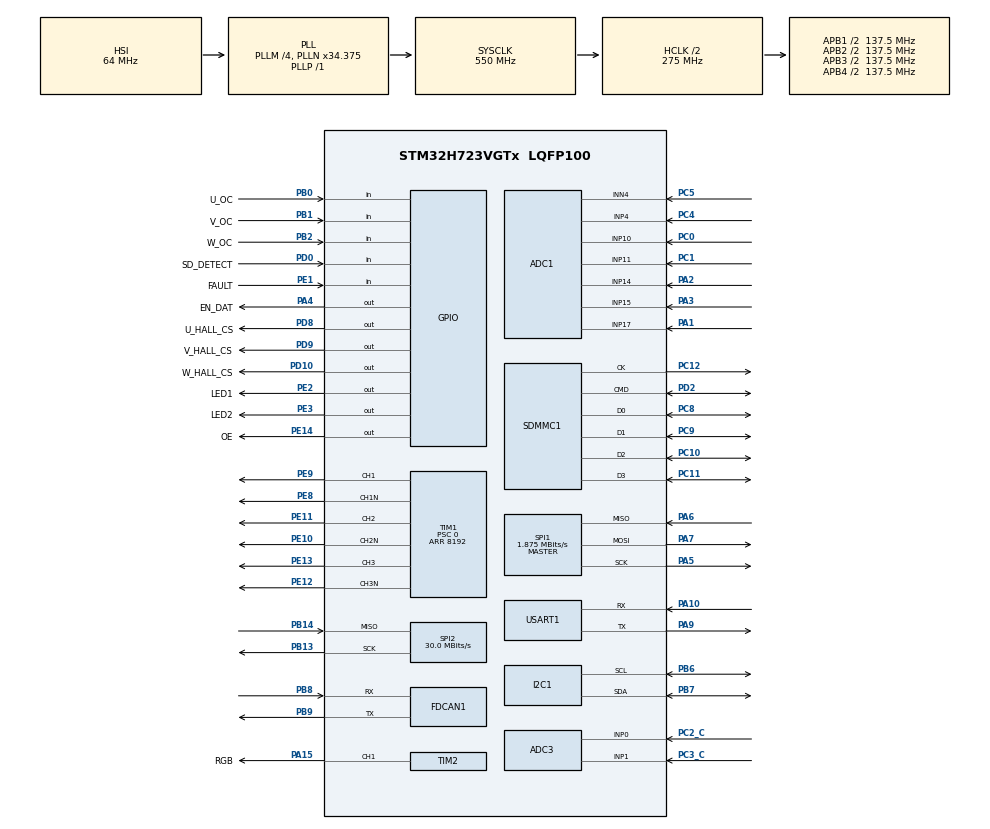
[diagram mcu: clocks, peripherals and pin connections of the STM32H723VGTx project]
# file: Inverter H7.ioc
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ADC1.Channel-1\#ChannelRegularConversion=ADC_CHANNEL_4
ADC1.Channel-5\#ChannelRegularConversion=ADC_CHANNEL_10
ADC1.ClockPrescaler=ADC_CLOCK_ASYNC_DIV8
ADC1.ContinuousConvMode=ENABLE
ADC1.ConversionDataManagement=ADC_CONVERSIONDATA_DMA_CIRCULAR
ADC1.EOCSelection=ADC_EOC_SEQ_CONV
ADC1.NbrOfConversion=2
ADC1.NbrOfConversionFlag=1
ADC1.OffsetNumber-5\#ChannelRegularConversion=ADC_OFFSET_NONE
ADC1.OffsetSignedSaturation-5\#ChannelRegularConversion=DISABLE
ADC1.Rank-5\#ChannelRegularConversion=2
ADC1.SamplingTime-1\#ChannelRegularConversion=ADC_SAMPLETIME_32CYCLES_5
ADC1.SamplingTime-5\#ChannelRegularConversion=ADC_SAMPLETIME_32CYCLES_5
ADC1.SingleDiff-1\#ChannelRegularConversion=ADC_DIFFERENTIAL_ENDED
ADC1.master=1
ADC3.Channel-0\#ChannelRegularConversion=ADC_CHANNEL_0
ADC3.ClockPrescaler=ADC_CLOCK_ASYNC_DIV8
ADC3.NbrOfConversionFlag=1
ADC3.OffsetNumber-0\#ChannelRegularConversion=ADC_OFFSET_NONE
ADC3.OffsetSign-0\#ChannelRegularConversion=ADC3_OFFSET_SIGN_NEGATIVE
ADC3.Rank-0\#ChannelRegularConversion=1
ADC3.SamplingTime-0\#ChannelRegularConversion=ADC3_SAMPLETIME_2CYCLES_5
CORTEX_M7.default_mode_Activation=1
Dma.ADC1.1.Direction=DMA_PERIPH_TO_MEMORY
Dma.ADC1.1.EventEnable=DISABLE
Dma.ADC1.1.FIFOMode=DMA_FIFOMODE_DISABLE
Dma.ADC1.1.Instance=DMA1_Stream1
Dma.ADC1.1.MemDataAlignment=DMA_MDATAALIGN_WORD
Dma.ADC1.1.MemInc=DMA_MINC_ENABLE
Dma.ADC1.1.Mode=DMA_CIRCULAR
Dma.ADC1.1.PeriphDataAlignment=DMA_PDATAALIGN_WORD
Dma.ADC1.1.PeriphInc=DMA_PINC_DISABLE
Dma.ADC1.1.Polarity=HAL_DMAMUX_REQ_GEN_RISING
Dma.ADC1.1.Priority=DMA_PRIORITY_MEDIUM
Dma.ADC1.1.RequestNumber=1
Dma.ADC1.1.SignalID=NONE
Dma.ADC1.1.SyncEnable=DISABLE
Dma.ADC1.1.SyncPolarity=HAL_DMAMUX_SYNC_NO_EVENT
Dma.ADC1.1.SyncRequestNumber=1
Dma.ADC1.1.SyncSignalID=NONE
Dma.Request0=USART1_TX
Dma.Request1=ADC1
Dma.USART1_TX.0.Direction=DMA_MEMORY_TO_PERIPH
Dma.USART1_TX.0.EventEnable=DISABLE
Dma.USART1_TX.0.FIFOMode=DMA_FIFOMODE_DISABLE
Dma.USART1_TX.0.Instance=DMA1_Stream0
Dma.USART1_TX.0.MemDataAlignment=DMA_MDATAALIGN_BYTE
Dma.USART1_TX.0.MemInc=DMA_MINC_ENABLE
Dma.USART1_TX.0.Mode=DMA_NORMAL
Dma.USART1_TX.0.PeriphDataAlignment=DMA_PDATAALIGN_BYTE
Dma.USART1_TX.0.PeriphInc=DMA_PINC_DISABLE
Dma.USART1_TX.0.Polarity=HAL_DMAMUX_REQ_GEN_RISING
Dma.USART1_TX.0.Priority=DMA_PRIORITY_MEDIUM
Dma.USART1_TX.0.RequestNumber=1
Dma.USART1_TX.0.SignalID=NONE
Dma.USART1_TX.0.SyncEnable=DISABLE
Dma.USART1_TX.0.SyncPolarity=HAL_DMAMUX_SYNC_NO_EVENT
Dma.USART1_TX.0.SyncRequestNumber=1
Dma.USART1_TX.0.SyncSignalID=NONE
FATFS.BSP.number=1
FATFS._MAX_SS=4096
FATFS._USE_LFN=1
FATFS0.BSP.STBoard=false
FATFS0.BSP.api=Unknown
FATFS0.BSP.instance=PD0
FATFS0.BSP.ip=GPIO
FATFS0.BSP.mode=Input
FATFS0.BSP.name=Detect_SDIO
FATFS0.BSP.solution=PD0
FDCAN1.CalculateBaudRateNominal=520833
FDCAN1.CalculateTimeBitNominal=1920
FDCAN1.CalculateTimeQuantumNominal=640.0
I2C1.Timing=0x60404E72
Mcu.Family=STM32H7
Mcu.Name=STM32H723VGTx
Mcu.Package=LQFP100
NVIC.DMA1_Stream0_IRQn=true\:0\:0\:false\:false\:true\:false\:true\:true
NVIC.DMA1_Stream1_IRQn=true\:0\:0\:false\:false\:true\:false\:true\:true
NVIC.PriorityGroup=NVIC_PRIORITYGROUP_4
NVIC.SDMMC1_IRQn=true\:0\:0\:false\:false\:true\:true\:true\:true
NVIC.USART1_IRQn=true\:0\:0\:false\:false\:true\:true\:true\:true
PA1.GPIO_Mode=GPIO_MODE_ANALOG
PA1.GPIO_Pd=GPIO_NOPULL
PA1.Mode=IN17-Single-Ended
PA1.Signal=ADC1_INP17
PA10.Mode=Asynchronous
PA10.Signal=USART1_RX
PA13(JTMS/SWDIO).Mode=Trace_Asynchronous_SW
PA13(JTMS/SWDIO).Signal=DEBUG_JTMS-SWDIO
PA14(JTCK/SWCLK).Mode=Trace_Asynchronous_SW
PA14(JTCK/SWCLK).Signal=DEBUG_JTCK-SWCLK
PA15(JTDI).GPIO_Label=RGB
PA15(JTDI).Signal=S_TIM2_CH1_ETR
PA2.GPIO_Mode=GPIO_MODE_ANALOG
PA2.GPIO_Pd=GPIO_NOPULL
PA2.Signal=ADCx_INP14
PA3.GPIO_Mode=GPIO_MODE_ANALOG
PA3.GPIO_Pd=GPIO_NOPULL
PA3.Signal=ADCx_INP15
PA4.GPIO_Label=EN_DAT
PA4.Signal=GPIO_Output
PA5.GPIO_PuPd=GPIO_NOPULL
PA5.GPIO_Speed=GPIO_SPEED_FREQ_LOW
PA5.Mode=Full_Duplex_Master
PA5.Signal=SPI1_SCK
PA6.GPIO_Speed=GPIO_SPEED_FREQ_LOW
PA6.Mode=Full_Duplex_Master
PA6.Signal=SPI1_MISO
PA7.GPIO_Speed=GPIO_SPEED_FREQ_LOW
PA7.Mode=Full_Duplex_Master
PA7.Signal=SPI1_MOSI
PA9.Mode=Asynchronous
PA9.Signal=USART1_TX
PB0.GPIO_Label=U_OC
PB0.Signal=GPIO_Input
PB1.GPIO_Label=V_OC
PB1.Signal=GPIO_Input
PB13.GPIO_Speed=GPIO_SPEED_FREQ_VERY_HIGH
PB13.Mode=RX_Only_Simplex_Unidirect_Master
PB13.Signal=SPI2_SCK
PB14.GPIO_Speed=GPIO_SPEED_FREQ_VERY_HIGH
PB14.Mode=RX_Only_Simplex_Unidirect_Master
PB14.Signal=SPI2_MISO
PB2.GPIO_Label=W_OC
PB2.Signal=GPIO_Input
PB3(JTDO/TRACESWO).Mode=Trace_Asynchronous_SW
PB3(JTDO/TRACESWO).Signal=DEBUG_JTDO-SWO
PB6.Mode=I2C
PB6.Signal=I2C1_SCL
PB7.Mode=I2C
PB7.Signal=I2C1_SDA
PB8.Mode=FDCAN_Activate
PB8.Signal=FDCAN1_RX
PB9.Mode=FDCAN_Activate
PB9.Signal=FDCAN1_TX
PC0.Signal=ADCx_INP10
PC1.Signal=ADCx_INP11
PC10.Mode=SD_4_bits_Wide_bus
PC10.Signal=SDMMC1_D2
PC11.Mode=SD_4_bits_Wide_bus
PC11.Signal=SDMMC1_D3
PC12.Mode=SD_4_bits_Wide_bus
PC12.Signal=SDMMC1_CK
PC2_C.Mode=IN0-Single-Ended
PC2_C.Signal=ADC3_INP0
PC3_C.Mode=IN1-Single-Ended
PC3_C.Signal=ADC3_INP1
PC4.Signal=ADCx_INP4
PC5.Signal=ADCx_INN4
PC8.Mode=SD_4_bits_Wide_bus
PC8.Signal=SDMMC1_D0
PC9.Mode=SD_4_bits_Wide_bus
PC9.Signal=SDMMC1_D1
PD0.GPIO_Label=SD_DETECT
PD0.Signal=GPIO_Input
PD10.GPIO_Label=W_HALL_CS
PD10.PinState=GPIO_PIN_SET
PD10.Signal=GPIO_Output
PD2.Mode=SD_4_bits_Wide_bus
PD2.Signal=SDMMC1_CMD
PD8.GPIO_Label=U_HALL_CS
PD8.PinState=GPIO_PIN_SET
PD8.Signal=GPIO_Output
PD9.GPIO_Label=V_HALL_CS
PD9.PinState=GPIO_PIN_SET
PD9.Signal=GPIO_Output
PE1.GPIO_Label=FAULT
PE1.Signal=GPIO_Input
PE10.GPIO_Speed=GPIO_SPEED_FREQ_MEDIUM
PE10.Mode=PWM Generation2 CH2 CH2N
PE10.Signal=TIM1_CH2N
PE11.GPIO_Speed=GPIO_SPEED_FREQ_MEDIUM
PE11.Signal=S_TIM1_CH2
PE12.GPIO_Speed=GPIO_SPEED_FREQ_MEDIUM
PE12.Mode=PWM Generation3 CH3 CH3N
PE12.Signal=TIM1_CH3N
PE13.GPIO_Speed=GPIO_SPEED_FREQ_MEDIUM
PE13.Signal=S_TIM1_CH3
PE14.GPIO_Label=OE
PE14.Signal=GPIO_Output
PE2.GPIO_Label=LED1
PE2.Signal=GPIO_Output
PE3.GPIO_Label=LED2
PE3.Signal=GPIO_Output
PE8.GPIO_Speed=GPIO_SPEED_FREQ_MEDIUM
PE8.Mode=PWM Generation1 CH1 CH1N
PE8.Signal=TIM1_CH1N
PE9.GPIO_Speed=GPIO_SPEED_FREQ_MEDIUM
PE9.Signal=S_TIM1_CH1
PH0-OSC_IN.Mode=HSE-External-Oscillator
PH0-OSC_IN.Signal=RCC_OSC_IN
PH1-OSC_OUT.Mode=HSE-External-Oscillator
PH1-OSC_OUT.Signal=RCC_OSC_OUT
ProjectManager.HeapSize=0x400
ProjectManager.StackSize=0x800
ProjectManager.TargetToolchain=STM32CubeIDE
RCC.ADCCLockSelection=RCC_ADCCLKSOURCE_PLL3
RCC.ADCFreq_Value=129000000
RCC.APB1Freq_Value=137500000
RCC.APB2Freq_Value=137500000
RCC.APB3Freq_Value=137500000
RCC.APB4Freq_Value=137500000
RCC.CodegenConfigPeriph=true
RCC.CortexFreq_Value=550000000
RCC.D1PPRE=RCC_APB3_DIV2
RCC.D2PPRE1=RCC_APB1_DIV2
RCC.D2PPRE2=RCC_APB2_DIV2
RCC.D3PPRE=RCC_APB4_DIV2
RCC.DATA_CACHE_ENABLE=1
RCC.DIVM1=4
RCC.DIVM2=4
RCC.DIVN1=34
RCC.DIVN2=15
RCC.DIVP1=1
RCC.DIVP2=1
RCC.DIVQ1=4
RCC.DIVQ2=1
RCC.DIVR1=1
RCC.DIVR2=1
RCC.FDCANCLockSelection=RCC_FDCANCLKSOURCE_HSE
RCC.HCLKFreq_Value=275000000
RCC.HPRE=RCC_HCLK_DIV2
RCC.INSTRUCTION_CACHE_ENABLE=1
RCC.LSE_Drive_CapabilityArg=+LSE_Drive_Capability
RCC.PLL2FRACN=0
RCC.PLL3FRACN=0
RCC.PLL3_VCI_Range-AdvancedSettings=RCC_PLL3VCIRANGE_3
RCC.PLL3_VCO_SEL=RCC_PLL3VCOMEDIUM
RCC.PLL3_VCO_SEL-AdvancedSettings=RCC_PLL3VCOWIDE
RCC.PLLFRACN=3072
RCC.PREFETCH_ENABLE=0
RCC.SPI123CLockSelection=RCC_SPI123CLKSOURCE_PLL2
RCC.SYSCLKFreq_VALUE=550000000
RCC.SYSCLKSource=RCC_SYSCLKSOURCE_PLLCLK
RCC.USBFreq_Value=137500000
SDMMC1.ClockDiv=32
SH.ADCx_INN4.0=ADC1_INN4,IN4-Differential
SH.ADCx_INP10.0=ADC1_INP10,IN10-Single-Ended
SH.ADCx_INP11.0=ADC1_INP11,IN11-Single-Ended
SH.ADCx_INP14.0=ADC1_INP14,IN14-Single-Ended
SH.ADCx_INP15.0=ADC1_INP15,IN15-Single-Ended
SH.ADCx_INP4.0=ADC1_INP4,IN4-Differential
SH.S_TIM1_CH1.0=TIM1_CH1,PWM Generation1 CH1 CH1N
SH.S_TIM1_CH2.0=TIM1_CH2,PWM Generation2 CH2 CH2N
SH.S_TIM1_CH3.0=TIM1_CH3,PWM Generation3 CH3 CH3N
SH.S_TIM2_CH1_ETR.0=TIM2_CH1,PWM Generation1 CH1
SPI1.BaudRatePrescaler=SPI_BAUDRATEPRESCALER_128
SPI1.CLKPhase=SPI_PHASE_1EDGE
SPI1.CLKPolarity=SPI_POLARITY_HIGH
SPI1.CalculateBaudRate=1.875 MBits/s
SPI1.DataSize=SPI_DATASIZE_10BIT
SPI1.Direction=SPI_DIRECTION_2LINES
SPI1.Mode=SPI_MODE_MASTER
SPI1.NSSPMode=SPI_NSS_PULSE_DISABLE
SPI1.VirtualType=VM_MASTER
SPI2.BaudRatePrescaler=SPI_BAUDRATEPRESCALER_8
SPI2.CalculateBaudRate=30.0 MBits/s
SPI2.DataSize=SPI_DATASIZE_16BIT
SPI2.Direction=SPI_DIRECTION_2LINES_RXONLY
SPI2.Mode=SPI_MODE_MASTER
SPI2.VirtualType=VM_MASTER
TIM1.Channel-PWM\ Generation1\ CH1\ CH1N=TIM_CHANNEL_1
TIM1.Channel-PWM\ Generation2\ CH2\ CH2N=TIM_CHANNEL_2
TIM1.Channel-PWM\ Generation3\ CH3\ CH3N=TIM_CHANNEL_3
TIM1.CounterMode=TIM_COUNTERMODE_CENTERALIGNED1
TIM1.OCFastMode_PWM-PWM\ Generation1\ CH1\ CH1N=TIM_OCFAST_ENABLE
TIM1.OCFastMode_PWM-PWM\ Generation2\ CH2\ CH2N=TIM_OCFAST_ENABLE
TIM1.OCFastMode_PWM-PWM\ Generation3\ CH3\ CH3N=TIM_OCFAST_ENABLE
TIM1.OCMode_PWM-PWM\ Generation1\ CH1\ CH1N=TIM_OCMODE_PWM1
TIM1.OCMode_PWM-PWM\ Generation2\ CH2\ CH2N=TIM_OCMODE_PWM1
TIM1.OCMode_PWM-PWM\ Generation3\ CH3\ CH3N=TIM_OCMODE_PWM1
TIM1.OCNPolarity_1=TIM_OCNPOLARITY_HIGH
TIM1.OCNPolarity_2=TIM_OCNPOLARITY_HIGH
TIM1.OCNPolarity_3=TIM_OCNPOLARITY_HIGH
TIM1.OCPolarity_1=TIM_OCPOLARITY_HIGH
TIM1.OCPolarity_2=TIM_OCPOLARITY_HIGH
TIM1.OCPolarity_3=TIM_OCPOLARITY_HIGH
TIM1.Period=8192
TIM1.Prescaler=0
TIM16.Prescaler=275-1
TIM2.Channel-PWM\ Generation1\ CH1=TIM_CHANNEL_1
USART1.VirtualMode-Asynchronous=VM_ASYNC
VP_CORDIC_VS_CORDIC.Mode=CORDIC_Activate
VP_FATFS_VS_SDIO.Mode=SDIO
VP_MEMORYMAP_VS_MEMORYMAP.Mode=CurAppReg
VP_TIM16_VS_ClockSourceINT.Mode=Enable_Timer
board=custom

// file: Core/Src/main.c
/* USER CODE BEGIN Header */
/**
  ******************************************************************************
  * @file           : main.c
  * @brief          : Main program body
  ******************************************************************************
  * @attention
  *
  * Copyright (c) 2025 STMicroelectronics.
  * All rights reserved.
  *
  * This software is licensed under terms that can be found in the LICENSE file
  * in the root directory of this software component.
  * If no LICENSE file comes with this software, it is provided AS-IS.
  *
  ******************************************************************************
  */
/* USER CODE END Header */
#include "main.h"
#include "fatfs.h"

/* USER CODE BEGIN Includes */
#include <string.h>
#include <stdio.h>

#include "adc.h"
#include "hall.h"
#include "encoder.h"
#include "main.h"
#include "appMath.h"
#include "sdcard.h"
/* USER CODE END Includes */

/* USER CODE BEGIN PD */
#define UPHASE TIM1->CCR1
#define VPHASE TIM1->CCR2
#define WPHASE TIM1->CCR3
#define ENABLE_OUT HAL_GPIO_WritePin(GPIOE, GPIO_PIN_14, 1)
#define DISABLE_OUT HAL_GPIO_WritePin(GPIOE, GPIO_PIN_14, 0)

#define PWM_MAX 8000

/* USER CODE END PD */

/* USER CODE BEGIN PM */
#define V2PWM 8192.0/v_bus
/* USER CODE END PM */

ADC_HandleTypeDef hadc1;
ADC_HandleTypeDef hadc3;
DMA_HandleTypeDef hdma_adc1;

CORDIC_HandleTypeDef hcordic;

FDCAN_HandleTypeDef hfdcan1;

I2C_HandleTypeDef hi2c1;

SD_HandleTypeDef hsd1;

SPI_HandleTypeDef hspi1;
SPI_HandleTypeDef hspi2;

TIM_HandleTypeDef htim1;
TIM_HandleTypeDef htim2;
TIM_HandleTypeDef htim16;

UART_HandleTypeDef huart1;
DMA_HandleTypeDef hdma_usart1_tx;

/* USER CODE BEGIN PV */
char msg[100] = {};

uint16_t iu = 0;
uint16_t iv = 0;
uint16_t iw = 0;

uint32_t motor = 0;

uint16_t hallOffset[3] = {0};
uint16_t hallValue[3] = {0};

uint32_t adcOffset[10] = {0};
uint32_t adcValue[10] = {0};

volatile float i_phase[3] = {0};
volatile uint32_t tI = 0;
volatile float freq = 0;
volatile float theta = 0;
volatile float thetaI = 0;
volatile float omega = 0;

volatile float v_bus = 0;

float theta_e = 0;
float omega_e = 0;

DQ_Components integral = {0,0};
DQ_Components error = {0,0};

volatile DQ_Components ref = {.d = 0 , .q = 0};

/* USER CODE END PV */

void SystemClock_Config(void);
void PeriphCommonClock_Config(void);
static void MPU_Config(void);
static void MX_GPIO_Init(void);
static void MX_DMA_Init(void);
static void MX_ADC1_Init(void);
static void MX_ADC3_Init(void);
static void MX_CORDIC_Init(void);
static void MX_FDCAN1_Init(void);
static void MX_I2C1_Init(void);
static void MX_SPI1_Init(void);
static void MX_SPI2_Init(void);
static void MX_TIM1_Init(void);
static void MX_TIM16_Init(void);
static void MX_USART1_UART_Init(void);
static void MX_TIM2_Init(void);
static void MX_SDMMC1_SD_Init(void);

int main(void)
{

  /* MPU Configuration--------------------------------------------------------*/
  MPU_Config();

  /* MCU Configuration--------------------------------------------------------*/

  /* Reset of all peripherals, Initializes the Flash interface and the Systick. */
  HAL_Init();

  /* Configure the system clock */
  SystemClock_Config();

  /* Configure the peripherals common clocks */
  PeriphCommonClock_Config();

  /* Initialize all configured peripherals */
  MX_GPIO_Init();
  MX_DMA_Init();
  MX_ADC1_Init();
  MX_ADC3_Init();
  MX_CORDIC_Init();
  MX_FDCAN1_Init();
  MX_I2C1_Init();
  MX_SPI1_Init();
  MX_SPI2_Init();
  MX_TIM1_Init();
  MX_TIM16_Init();
  MX_USART1_UART_Init();
  MX_TIM2_Init();
  MX_SDMMC1_SD_Init();
  MX_FATFS_Init();
  /* USER CODE BEGIN 2 */

  HAL_TIM_Base_Start(&htim16);

  ENABLE_OUT;
  HAL_TIM_PWM_Start(&htim1, TIM_CHANNEL_1);
  HAL_TIMEx_PWMN_Start(&htim1, TIM_CHANNEL_1);
  UPHASE = 0;
  HAL_TIM_PWM_Start(&htim1, TIM_CHANNEL_2);
  HAL_TIMEx_PWMN_Start(&htim1, TIM_CHANNEL_2);
  VPHASE = 0;
  HAL_TIM_PWM_Start(&htim1, TIM_CHANNEL_3);
  HAL_TIMEx_PWMN_Start(&htim1, TIM_CHANNEL_3);
  WPHASE = 0;

  HAL_ADC_Start_DMA(&hadc1, adcValue, 2);

  callibrateHall(&hspi2,hallOffset);
  callibrateADC(&hadc1,adcOffset);

  /* USER CODE END 2 */

  /* Infinite loop */
  /* USER CODE BEGIN WHILE */

  uint32_t printCounter =0;
  float	fake_angle = 0;
  float angle_offset = 0;
//  float angle_offset = 2.7 + M_PI2;
//  float angle_offset = 1.032;
//  float angle_offset = 0.06790161132;
//  	float angle_offset = 4.4;
//  float angle_offset = -2.25;

//  float angle_offset = 2.05 - M_2PI/3;
//		UPHASE = 300;
//		HAL_Delay(1000);
//  	  readEncoder(&motor);
//	theta = motor*ENDAT2RAD;
//	theta_e = normalizeAngle(theta*5);
//	sprintf(msg, "%f",theta_e);
//	HAL_UART_Transmit_DMA(&huart1, (uint8_t*)msg, strlen(msg));

//  float angle_offset = M_PI2;
////  SDIO_SDCard_Test();
  while (1)
  {

	uint32_t dt = __HAL_TIM_GET_COUNTER(&htim16) - tI;
	tI = __HAL_TIM_GET_COUNTER(&htim16);
	freq = (1000000.0/(float)dt);
	readEncoder(&motor);
	theta = normalizeAngle((motor)*ENDAT2RAD);
//	if(theta == 0 || theta == 65536){
//		theta = thetaI;
//	}
	omega = shortenAngle(theta - thetaI)*(freq);
	thetaI = theta;

	//electrical equivalent
	theta_e = normalizeAngle((theta) * 5);
	fake_angle = normalizeAngle(fake_angle + 0.0003);
//	theta_e = fake_angle;
	omega_e = omega * 5;

//	angle_offset = normalizeAngle(angle_offset + 0.00003);

	float real_angle = normalizeAngle(theta * 5);

//	angle_offset= (float)(((float)adcValue[1]-500)/10000);

	theta_e = normalizeAngle(theta_e);

	pollCurrent(&hspi2, i_phase, hallValue, hallOffset);
	pollVoltage(&hadc1, &v_bus, adcValue, adcOffset);

	AlphaBeta_Components i_alpha_beta = clarkeTransform(i_phase[2], i_phase[0], i_phase[1]);
	DQ_Components i_dq = parkTransform(i_alpha_beta.alpha, i_alpha_beta.beta, theta_e);

//		i_dq.d = 0;
//		i_d/q.q = 0;

	//volatile DQ_Components dec = {.d = 0.05 , .q = 0.05};
//	volatile DQ_Components Kp = {.d = 0.46, .q = 0.53}; // V/A
	float Lq = 0.000240f; //uH
	float Ld = 0.000120f; //uH
	float R = 0.135f; //R
	float w = 266.0f;
	volatile DQ_Components Kp = {.d = 3, .q = 3}; // V/A
	volatile DQ_Components Ki = {.d = 0, .q = 0}; // V/A

	    // 5. PI control
	ref.d = 0;
	ref.q = 10;
	ref.q = (float)((adcValue[1]-500)/800);

	error.d = (ref.d - i_dq.d);
	error.q = (ref.q - i_dq.q);

	integral.d += error.d * 0.0001f * Ki.d;
	integral.q += error.q * 0.0001f * Ki.q;

	float integral_limit = 10;
	if(integral.d > integral_limit) integral.d = integral_limit;
	if(integral.d < -integral_limit) integral.d = -integral_limit;

	if(integral.q > integral_limit) integral.q = integral_limit;
	if(integral.q < -integral_limit) integral.q= -integral_limit;

////	float flux_linkage = 0.26f; // v/(rad/s)
	float flux_linkage = 0.05319148936f;
//	flux_linkage = 0;
//	omega_e = 0;
	float vd = Kp.d * error.d + integral.d;// + omega_e * Lq*i_dq.q;
	float vq = Kp.q * error.q + integral.q;// - omega_e *(Ld*i_dq.d + flux_linkage); //+,-

//	vd = 0;
//	vq = 3;

//	float vd = Kp.d * error.d + Ki.d * integral.d;
//	float vq = Kp.q * error.q + Ki.q * integral.q;
	// 6. Inverse Park (dq -> αβ)

	AlphaBeta_Components v_alpha_beta = inverseParkTransform(vd, vq, theta_e);

	// 7. Inverse Clarke (αβ -> UVW)
	ThreePhase_Components v_uvw = inverseClarkeTransform(v_alpha_beta.alpha, v_alpha_beta.beta);

	// 8. Scale and output to PWM

	v_uvw.a += v_bus/2;
	v_uvw.b += v_bus/2;
	v_uvw.c += v_bus/2;

	WPHASE = (int)(fmaxf(0, fminf(PWM_MAX, (v_uvw.a*V2PWM))));
	UPHASE = (int)(fmaxf(0, fminf(PWM_MAX, (v_uvw.b*V2PWM))));
	VPHASE = (int)(fmaxf(0, fminf(PWM_MAX, (v_uvw.c*V2PWM))));

	if(printCounter++ > 500){
		printCounter = 0;
//		sprintf(msg,"%lu, %lu, %lu, %lu",motor,UPHASE,VPHASE,WPHASE);
//		sprintf(msg,"%lu, %f, %f, %f \n",motor,v_uvw.a,v_uvw.b,v_uvw.c);
//		sprintf(msg,"%f, %f",i_dq.d,i_dq.q);
//		sprintf(msg,"%lu, %f, %f, %f \n",motor,i_phase[0],i_phase[1],i_phase[2]);
//		sprintf(msg,"%lu, %d, %d, %d, %d \n",motor,hallOffset[0],hallOffset[1],hallOffset[2],adcOffset[0]);

//		sprintf(msg,"angle:%2.2f, offset:%+2.2f, ia:%+2.1f, ib:%+2.1f, ic:%+2.1f, v1:%+2.1f, v2:%+2.1f, v3:%+2.1f"
//					,theta_e,	angle_offset,	i_phase[0],i_phase[1],i_phase[2],v_uvw.a, v_uvw.b ,v_uvw.c);
		sprintf(msg,"angle:%2.2f, offset:%2.2f, cmdq: %2.1f, iq:%+2.1f, id:%+2.1f, vq:%+2.1f, vd:%+3.1f, v:%2.1f, omega:%2.2f\n"
					,real_angle	,angle_offset,		ref.q, 		i_dq.q, 	i_dq.d, 	vq,		 vd, 	v_bus, omega_e);
//		sprintf(msg,"%lu \n",adcValue[1]);
//		float diff = theta_e - real_angle;
//		sprintf(msg, "fake:%f, real:%f, offset:%f \n",theta_e,real_angle,diff);
//		sprintf(msg,"r:%f off:%f omega:%f\n",theta_e,angle_offset,omega_e);

//		sprintf(msg, "%d %d %d",UPHASE,VPHASE,WPHASE);
		HAL_UART_Transmit_DMA(&huart1, (uint8_t*)msg, strlen(msg));
	}

	HAL_GPIO_WritePin(LED1_GPIO_Port, LED1_Pin, 1);
	HAL_GPIO_WritePin(LED2_GPIO_Port, LED2_Pin, 1);

    /* USER CODE END WHILE */

  }
}

void SystemClock_Config(void)
{
  RCC_OscInitTypeDef RCC_OscInitStruct = {0};
  RCC_ClkInitTypeDef RCC_ClkInitStruct = {0};

  /** Supply configuration update enable
  */
  HAL_PWREx_ConfigSupply(PWR_LDO_SUPPLY);

  /** Configure the main internal regulator output voltage
  */
  __HAL_PWR_VOLTAGESCALING_CONFIG(PWR_REGULATOR_VOLTAGE_SCALE0);

  while(!__HAL_PWR_GET_FLAG(PWR_FLAG_VOSRDY)) {}

  /** Initializes the RCC Oscillators according to the specified parameters
  * in the RCC_OscInitTypeDef structure.
  */
  RCC_OscInitStruct.OscillatorType = RCC_OSCILLATORTYPE_HSI|RCC_OSCILLATORTYPE_HSE;
  RCC_OscInitStruct.HSEState = RCC_HSE_ON;
  RCC_OscInitStruct.HSIState = RCC_HSI_DIV1;
  RCC_OscInitStruct.HSICalibrationValue = 64;
  RCC_OscInitStruct.PLL.PLLState = RCC_PLL_ON;
  RCC_OscInitStruct.PLL.PLLSource = RCC_PLLSOURCE_HSI;
  RCC_OscInitStruct.PLL.PLLM = 4;
  RCC_OscInitStruct.PLL.PLLN = 34;
  RCC_OscInitStruct.PLL.PLLP = 1;
  RCC_OscInitStruct.PLL.PLLQ = 4;
  RCC_OscInitStruct.PLL.PLLR = 1;
  RCC_OscInitStruct.PLL.PLLRGE = RCC_PLL1VCIRANGE_3;
  RCC_OscInitStruct.PLL.PLLVCOSEL = RCC_PLL1VCOWIDE;
  RCC_OscInitStruct.PLL.PLLFRACN = 3072;
  if (HAL_RCC_OscConfig(&RCC_OscInitStruct) != HAL_OK)
  {
    Error_Handler();
  }

  /** Initializes the CPU, AHB and APB buses clocks
  */
  RCC_ClkInitStruct.ClockType = RCC_CLOCKTYPE_HCLK|RCC_CLOCKTYPE_SYSCLK
                              |RCC_CLOCKTYPE_PCLK1|RCC_CLOCKTYPE_PCLK2
                              |RCC_CLOCKTYPE_D3PCLK1|RCC_CLOCKTYPE_D1PCLK1;
  RCC_ClkInitStruct.SYSCLKSource = RCC_SYSCLKSOURCE_PLLCLK;
  RCC_ClkInitStruct.SYSCLKDivider = RCC_SYSCLK_DIV1;
  RCC_ClkInitStruct.AHBCLKDivider = RCC_HCLK_DIV2;
  RCC_ClkInitStruct.APB3CLKDivider = RCC_APB3_DIV2;
  RCC_ClkInitStruct.APB1CLKDivider = RCC_APB1_DIV2;
  RCC_ClkInitStruct.APB2CLKDivider = RCC_APB2_DIV2;
  RCC_ClkInitStruct.APB4CLKDivider = RCC_APB4_DIV2;

  if (HAL_RCC_ClockConfig(&RCC_ClkInitStruct, FLASH_LATENCY_3) != HAL_OK)
  {
    Error_Handler();
  }
}

void PeriphCommonClock_Config(void)
{
  RCC_PeriphCLKInitTypeDef PeriphClkInitStruct = {0};

  /** Initializes the peripherals clock
  */
  PeriphClkInitStruct.PeriphClockSelection = RCC_PERIPHCLK_ADC|RCC_PERIPHCLK_SPI2
                              |RCC_PERIPHCLK_SPI1;
  PeriphClkInitStruct.PLL2.PLL2M = 4;
  PeriphClkInitStruct.PLL2.PLL2N = 15;
  PeriphClkInitStruct.PLL2.PLL2P = 1;
  PeriphClkInitStruct.PLL2.PLL2Q = 1;
  PeriphClkInitStruct.PLL2.PLL2R = 1;
  PeriphClkInitStruct.PLL2.PLL2RGE = RCC_PLL2VCIRANGE_3;
  PeriphClkInitStruct.PLL2.PLL2VCOSEL = RCC_PLL2VCOWIDE;
  PeriphClkInitStruct.PLL2.PLL2FRACN = 0;
  PeriphClkInitStruct.PLL3.PLL3M = 32;
  PeriphClkInitStruct.PLL3.PLL3N = 129;
  PeriphClkInitStruct.PLL3.PLL3P = 2;
  PeriphClkInitStruct.PLL3.PLL3Q = 2;
  PeriphClkInitStruct.PLL3.PLL3R = 2;
  PeriphClkInitStruct.PLL3.PLL3RGE = RCC_PLL3VCIRANGE_1;
  PeriphClkInitStruct.PLL3.PLL3VCOSEL = RCC_PLL3VCOMEDIUM;
  PeriphClkInitStruct.PLL3.PLL3FRACN = 0;
  PeriphClkInitStruct.Spi123ClockSelection = RCC_SPI123CLKSOURCE_PLL2;
  PeriphClkInitStruct.AdcClockSelection = RCC_ADCCLKSOURCE_PLL3;
  if (HAL_RCCEx_PeriphCLKConfig(&PeriphClkInitStruct) != HAL_OK)
  {
    Error_Handler();
  }
}

static void MX_ADC1_Init(void)
{

  ADC_MultiModeTypeDef multimode = {0};
  ADC_ChannelConfTypeDef sConfig = {0};

  /** Common config
  */
  hadc1.Instance = ADC1;
  hadc1.Init.ClockPrescaler = ADC_CLOCK_ASYNC_DIV8;
  hadc1.Init.Resolution = ADC_RESOLUTION_16B;
  hadc1.Init.ScanConvMode = ADC_SCAN_ENABLE;
  hadc1.Init.EOCSelection = ADC_EOC_SEQ_CONV;
  hadc1.Init.LowPowerAutoWait = DISABLE;
  hadc1.Init.ContinuousConvMode = ENABLE;
  hadc1.Init.NbrOfConversion = 2;
  hadc1.Init.DiscontinuousConvMode = DISABLE;
  hadc1.Init.ExternalTrigConv = ADC_SOFTWARE_START;
  hadc1.Init.ExternalTrigConvEdge = ADC_EXTERNALTRIGCONVEDGE_NONE;
  hadc1.Init.ConversionDataManagement = ADC_CONVERSIONDATA_DMA_CIRCULAR;
  hadc1.Init.Overrun = ADC_OVR_DATA_PRESERVED;
  hadc1.Init.LeftBitShift = ADC_LEFTBITSHIFT_NONE;
  hadc1.Init.OversamplingMode = DISABLE;
  hadc1.Init.Oversampling.Ratio = 1;
  if (HAL_ADC_Init(&hadc1) != HAL_OK)
  {
    Error_Handler();
  }

  /** Configure the ADC multi-mode
  */
  multimode.Mode = ADC_MODE_INDEPENDENT;
  if (HAL_ADCEx_MultiModeConfigChannel(&hadc1, &multimode) != HAL_OK)
  {
    Error_Handler();
  }

  /** Configure Regular Channel
  */
  sConfig.Channel = ADC_CHANNEL_4;
  sConfig.Rank = ADC_REGULAR_RANK_1;
  sConfig.SamplingTime = ADC_SAMPLETIME_32CYCLES_5;
  sConfig.SingleDiff = ADC_DIFFERENTIAL_ENDED;
  sConfig.OffsetNumber = ADC_OFFSET_NONE;
  sConfig.Offset = 0;
  sConfig.OffsetSignedSaturation = DISABLE;
  if (HAL_ADC_ConfigChannel(&hadc1, &sConfig) != HAL_OK)
  {
    Error_Handler();
  }

  /** Configure Regular Channel
  */
  sConfig.Channel = ADC_CHANNEL_10;
  sConfig.Rank = ADC_REGULAR_RANK_2;
  sConfig.SingleDiff = ADC_SINGLE_ENDED;
  if (HAL_ADC_ConfigChannel(&hadc1, &sConfig) != HAL_OK)
  {
    Error_Handler();
  }

}

static void MX_ADC3_Init(void)
{

  ADC_ChannelConfTypeDef sConfig = {0};

  /** Common config
  */
  hadc3.Instance = ADC3;
  hadc3.Init.ClockPrescaler = ADC_CLOCK_ASYNC_DIV1;
  hadc3.Init.Resolution = ADC_RESOLUTION_12B;
  hadc3.Init.DataAlign = ADC3_DATAALIGN_RIGHT;
  hadc3.Init.ScanConvMode = ADC_SCAN_DISABLE;
  hadc3.Init.EOCSelection = ADC_EOC_SINGLE_CONV;
  hadc3.Init.LowPowerAutoWait = DISABLE;
  hadc3.Init.ContinuousConvMode = DISABLE;
  hadc3.Init.NbrOfConversion = 1;
  hadc3.Init.DiscontinuousConvMode = DISABLE;
  hadc3.Init.ExternalTrigConv = ADC_SOFTWARE_START;
  hadc3.Init.ExternalTrigConvEdge = ADC_EXTERNALTRIGCONVEDGE_NONE;
  hadc3.Init.DMAContinuousRequests = DISABLE;
  hadc3.Init.SamplingMode = ADC_SAMPLING_MODE_NORMAL;
  hadc3.Init.ConversionDataManagement = ADC_CONVERSIONDATA_DR;
  hadc3.Init.Overrun = ADC_OVR_DATA_PRESERVED;
  hadc3.Init.LeftBitShift = ADC_LEFTBITSHIFT_NONE;
  hadc3.Init.OversamplingMode = DISABLE;
  hadc3.Init.Oversampling.Ratio = ADC3_OVERSAMPLING_RATIO_2;
  if (HAL_ADC_Init(&hadc3) != HAL_OK)
  {
    Error_Handler();
  }

  /** Configure Regular Channel
  */
  sConfig.Channel = ADC_CHANNEL_0;
  sConfig.Rank = ADC_REGULAR_RANK_1;
  sConfig.SamplingTime = ADC3_SAMPLETIME_2CYCLES_5;
  sConfig.SingleDiff = ADC_SINGLE_ENDED;
  sConfig.OffsetNumber = ADC_OFFSET_NONE;
  sConfig.Offset = 0;
  sConfig.OffsetSign = ADC3_OFFSET_SIGN_NEGATIVE;
  if (HAL_ADC_ConfigChannel(&hadc3, &sConfig) != HAL_OK)
  {
    Error_Handler();
  }

}

static void MX_CORDIC_Init(void)
{

  hcordic.Instance = CORDIC;
  if (HAL_CORDIC_Init(&hcordic) != HAL_OK)
  {
    Error_Handler();
  }

}

static void MX_FDCAN1_Init(void)
{

  hfdcan1.Instance = FDCAN1;
  hfdcan1.Init.FrameFormat = FDCAN_FRAME_CLASSIC;
  hfdcan1.Init.Mode = FDCAN_MODE_NORMAL;
  hfdcan1.Init.AutoRetransmission = DISABLE;
  hfdcan1.Init.TransmitPause = DISABLE;
  hfdcan1.Init.ProtocolException = DISABLE;
  hfdcan1.Init.NominalPrescaler = 16;
  hfdcan1.Init.NominalSyncJumpWidth = 1;
  hfdcan1.Init.NominalTimeSeg1 = 1;
  hfdcan1.Init.NominalTimeSeg2 = 1;
  hfdcan1.Init.DataPrescaler = 1;
  hfdcan1.Init.DataSyncJumpWidth = 1;
  hfdcan1.Init.DataTimeSeg1 = 1;
  hfdcan1.Init.DataTimeSeg2 = 1;
  hfdcan1.Init.MessageRAMOffset = 0;
  hfdcan1.Init.StdFiltersNbr = 0;
  hfdcan1.Init.ExtFiltersNbr = 0;
  hfdcan1.Init.RxFifo0ElmtsNbr = 0;
  hfdcan1.Init.RxFifo0ElmtSize = FDCAN_DATA_BYTES_8;
  hfdcan1.Init.RxFifo1ElmtsNbr = 0;
  hfdcan1.Init.RxFifo1ElmtSize = FDCAN_DATA_BYTES_8;
  hfdcan1.Init.RxBuffersNbr = 0;
  hfdcan1.Init.RxBufferSize = FDCAN_DATA_BYTES_8;
  hfdcan1.Init.TxEventsNbr = 0;
  hfdcan1.Init.TxBuffersNbr = 0;
  hfdcan1.Init.TxFifoQueueElmtsNbr = 0;
  hfdcan1.Init.TxFifoQueueMode = FDCAN_TX_FIFO_OPERATION;
  hfdcan1.Init.TxElmtSize = FDCAN_DATA_BYTES_8;
  if (HAL_FDCAN_Init(&hfdcan1) != HAL_OK)
  {
    Error_Handler();
  }

}

static void MX_I2C1_Init(void)
{

  hi2c1.Instance = I2C1;
  hi2c1.Init.Timing = 0x60404E72;
  hi2c1.Init.OwnAddress1 = 0;
  hi2c1.Init.AddressingMode = I2C_ADDRESSINGMODE_7BIT;
  hi2c1.Init.DualAddressMode = I2C_DUALADDRESS_DISABLE;
  hi2c1.Init.OwnAddress2 = 0;
  hi2c1.Init.OwnAddress2Masks = I2C_OA2_NOMASK;
  hi2c1.Init.GeneralCallMode = I2C_GENERALCALL_DISABLE;
  hi2c1.Init.NoStretchMode = I2C_NOSTRETCH_DISABLE;
  if (HAL_I2C_Init(&hi2c1) != HAL_OK)
  {
    Error_Handler();
  }

  /** Configure Analogue filter
  */
  if (HAL_I2CEx_ConfigAnalogFilter(&hi2c1, I2C_ANALOGFILTER_ENABLE) != HAL_OK)
  {
    Error_Handler();
  }

  /** Configure Digital filter
  */
  if (HAL_I2CEx_ConfigDigitalFilter(&hi2c1, 0) != HAL_OK)
  {
    Error_Handler();
  }

}

static void MX_SDMMC1_SD_Init(void)
{

  hsd1.Instance = SDMMC1;
  hsd1.Init.ClockEdge = SDMMC_CLOCK_EDGE_RISING;
  hsd1.Init.ClockPowerSave = SDMMC_CLOCK_POWER_SAVE_DISABLE;
  hsd1.Init.BusWide = SDMMC_BUS_WIDE_4B;
  hsd1.Init.HardwareFlowControl = SDMMC_HARDWARE_FLOW_CONTROL_DISABLE;
  hsd1.Init.ClockDiv = 32;
  if (HAL_SD_Init(&hsd1) != HAL_OK)
  {
    Error_Handler();
  }

}

static void MX_SPI1_Init(void)
{

  /* SPI1 parameter configuration*/
  hspi1.Instance = SPI1;
  hspi1.Init.Mode = SPI_MODE_MASTER;
  hspi1.Init.Direction = SPI_DIRECTION_2LINES;
  hspi1.Init.DataSize = SPI_DATASIZE_10BIT;
  hspi1.Init.CLKPolarity = SPI_POLARITY_HIGH;
  hspi1.Init.CLKPhase = SPI_PHASE_1EDGE;
  hspi1.Init.NSS = SPI_NSS_SOFT;
  hspi1.Init.BaudRatePrescaler = SPI_BAUDRATEPRESCALER_128;
  hspi1.Init.FirstBit = SPI_FIRSTBIT_MSB;
  hspi1.Init.TIMode = SPI_TIMODE_DISABLE;
  hspi1.Init.CRCCalculation = SPI_CRCCALCULATION_DISABLE;
  hspi1.Init.CRCPolynomial = 0x0;
  hspi1.Init.NSSPMode = SPI_NSS_PULSE_DISABLE;
  hspi1.Init.NSSPolarity = SPI_NSS_POLARITY_LOW;
  hspi1.Init.FifoThreshold = SPI_FIFO_THRESHOLD_01DATA;
  hspi1.Init.TxCRCInitializationPattern = SPI_CRC_INITIALIZATION_ALL_ZERO_PATTERN;
  hspi1.Init.RxCRCInitializationPattern = SPI_CRC_INITIALIZATION_ALL_ZERO_PATTERN;
  hspi1.Init.MasterSSIdleness = SPI_MASTER_SS_IDLENESS_00CYCLE;
  hspi1.Init.MasterInterDataIdleness = SPI_MASTER_INTERDATA_IDLENESS_00CYCLE;
  hspi1.Init.MasterReceiverAutoSusp = SPI_MASTER_RX_AUTOSUSP_DISABLE;
  hspi1.Init.MasterKeepIOState = SPI_MASTER_KEEP_IO_STATE_DISABLE;
  hspi1.Init.IOSwap = SPI_IO_SWAP_DISABLE;
  if (HAL_SPI_Init(&hspi1) != HAL_OK)
  {
    Error_Handler();
  }

}

static void MX_SPI2_Init(void)
{

  /* SPI2 parameter configuration*/
  hspi2.Instance = SPI2;
  hspi2.Init.Mode = SPI_MODE_MASTER;
  hspi2.Init.Direction = SPI_DIRECTION_2LINES_RXONLY;
  hspi2.Init.DataSize = SPI_DATASIZE_16BIT;
  hspi2.Init.CLKPolarity = SPI_POLARITY_LOW;
  hspi2.Init.CLKPhase = SPI_PHASE_1EDGE;
  hspi2.Init.NSS = SPI_NSS_SOFT;
  hspi2.Init.BaudRatePrescaler = SPI_BAUDRATEPRESCALER_8;
  hspi2.Init.FirstBit = SPI_FIRSTBIT_MSB;
  hspi2.Init.TIMode = SPI_TIMODE_DISABLE;
  hspi2.Init.CRCCalculation = SPI_CRCCALCULATION_DISABLE;
  hspi2.Init.CRCPolynomial = 0x0;
  hspi2.Init.NSSPMode = SPI_NSS_PULSE_ENABLE;
  hspi2.Init.NSSPolarity = SPI_NSS_POLARITY_LOW;
  hspi2.Init.FifoThreshold = SPI_FIFO_THRESHOLD_01DATA;
  hspi2.Init.TxCRCInitializationPattern = SPI_CRC_INITIALIZATION_ALL_ZERO_PATTERN;
  hspi2.Init.RxCRCInitializationPattern = SPI_CRC_INITIALIZATION_ALL_ZERO_PATTERN;
  hspi2.Init.MasterSSIdleness = SPI_MASTER_SS_IDLENESS_00CYCLE;
  hspi2.Init.MasterInterDataIdleness = SPI_MASTER_INTERDATA_IDLENESS_00CYCLE;
  hspi2.Init.MasterReceiverAutoSusp = SPI_MASTER_RX_AUTOSUSP_DISABLE;
  hspi2.Init.MasterKeepIOState = SPI_MASTER_KEEP_IO_STATE_DISABLE;
  hspi2.Init.IOSwap = SPI_IO_SWAP_DISABLE;
  if (HAL_SPI_Init(&hspi2) != HAL_OK)
  {
    Error_Handler();
  }

}

static void MX_TIM1_Init(void)
{

  TIM_MasterConfigTypeDef sMasterConfig = {0};
  TIM_OC_InitTypeDef sConfigOC = {0};
  TIM_BreakDeadTimeConfigTypeDef sBreakDeadTimeConfig = {0};

  htim1.Instance = TIM1;
  htim1.Init.Prescaler = 0;
  htim1.Init.CounterMode = TIM_COUNTERMODE_CENTERALIGNED1;
  htim1.Init.Period = 8192;
  htim1.Init.ClockDivision = TIM_CLOCKDIVISION_DIV1;
  htim1.Init.RepetitionCounter = 0;
  htim1.Init.AutoReloadPreload = TIM_AUTORELOAD_PRELOAD_DISABLE;
  if (HAL_TIM_PWM_Init(&htim1) != HAL_OK)
  {
    Error_Handler();
  }
  sMasterConfig.MasterOutputTrigger = TIM_TRGO_RESET;
  sMasterConfig.MasterOutputTrigger2 = TIM_TRGO2_RESET;
  sMasterConfig.MasterSlaveMode = TIM_MASTERSLAVEMODE_DISABLE;
  if (HAL_TIMEx_MasterConfigSynchronization(&htim1, &sMasterConfig) != HAL_OK)
  {
    Error_Handler();
  }
  sConfigOC.OCMode = TIM_OCMODE_PWM1;
  sConfigOC.Pulse = 0;
  sConfigOC.OCPolarity = TIM_OCPOLARITY_HIGH;
  sConfigOC.OCNPolarity = TIM_OCNPOLARITY_HIGH;
  sConfigOC.OCFastMode = TIM_OCFAST_ENABLE;
  sConfigOC.OCIdleState = TIM_OCIDLESTATE_RESET;
  sConfigOC.OCNIdleState = TIM_OCNIDLESTATE_RESET;
  if (HAL_TIM_PWM_ConfigChannel(&htim1, &sConfigOC, TIM_CHANNEL_1) != HAL_OK)
  {
    Error_Handler();
  }
  if (HAL_TIM_PWM_ConfigChannel(&htim1, &sConfigOC, TIM_CHANNEL_2) != HAL_OK)
  {
    Error_Handler();
  }
  if (HAL_TIM_PWM_ConfigChannel(&htim1, &sConfigOC, TIM_CHANNEL_3) != HAL_OK)
  {
    Error_Handler();
  }
  sBreakDeadTimeConfig.OffStateRunMode = TIM_OSSR_DISABLE;
  sBreakDeadTimeConfig.OffStateIDLEMode = TIM_OSSI_DISABLE;
  sBreakDeadTimeConfig.LockLevel = TIM_LOCKLEVEL_OFF;
  sBreakDeadTimeConfig.DeadTime = 0;
  sBreakDeadTimeConfig.BreakState = TIM_BREAK_DISABLE;
  sBreakDeadTimeConfig.BreakPolarity = TIM_BREAKPOLARITY_HIGH;
  sBreakDeadTimeConfig.BreakFilter = 0;
  sBreakDeadTimeConfig.Break2State = TIM_BREAK2_DISABLE;
  sBreakDeadTimeConfig.Break2Polarity = TIM_BREAK2POLARITY_HIGH;
  sBreakDeadTimeConfig.Break2Filter = 0;
  sBreakDeadTimeConfig.AutomaticOutput = TIM_AUTOMATICOUTPUT_DISABLE;
  if (HAL_TIMEx_ConfigBreakDeadTime(&htim1, &sBreakDeadTimeConfig) != HAL_OK)
  {
    Error_Handler();
  }
  HAL_TIM_MspPostInit(&htim1);

}

static void MX_TIM2_Init(void)
{

  TIM_MasterConfigTypeDef sMasterConfig = {0};
  TIM_OC_InitTypeDef sConfigOC = {0};

  htim2.Instance = TIM2;
  htim2.Init.Prescaler = 0;
  htim2.Init.CounterMode = TIM_COUNTERMODE_UP;
  htim2.Init.Period = 4294967295;
  htim2.Init.ClockDivision = TIM_CLOCKDIVISION_DIV1;
  htim2.Init.AutoReloadPreload = TIM_AUTORELOAD_PRELOAD_DISABLE;
  if (HAL_TIM_PWM_Init(&htim2) != HAL_OK)
  {
    Error_Handler();
  }
  sMasterConfig.MasterOutputTrigger = TIM_TRGO_RESET;
  sMasterConfig.MasterSlaveMode = TIM_MASTERSLAVEMODE_DISABLE;
  if (HAL_TIMEx_MasterConfigSynchronization(&htim2, &sMasterConfig) != HAL_OK)
  {
    Error_Handler();
  }
  sConfigOC.OCMode = TIM_OCMODE_PWM1;
  sConfigOC.Pulse = 0;
  sConfigOC.OCPolarity = TIM_OCPOLARITY_HIGH;
  sConfigOC.OCFastMode = TIM_OCFAST_DISABLE;
  if (HAL_TIM_PWM_ConfigChannel(&htim2, &sConfigOC, TIM_CHANNEL_1) != HAL_OK)
  {
    Error_Handler();
  }
  HAL_TIM_MspPostInit(&htim2);

}

static void MX_TIM16_Init(void)
{

  htim16.Instance = TIM16;
  htim16.Init.Prescaler = 275-1;
  htim16.Init.CounterMode = TIM_COUNTERMODE_UP;
  htim16.Init.Period = 65535;
  htim16.Init.ClockDivision = TIM_CLOCKDIVISION_DIV1;
  htim16.Init.RepetitionCounter = 0;
  htim16.Init.AutoReloadPreload = TIM_AUTORELOAD_PRELOAD_DISABLE;
  if (HAL_TIM_Base_Init(&htim16) != HAL_OK)
  {
    Error_Handler();
  }

}

static void MX_USART1_UART_Init(void)
{

  huart1.Instance = USART1;
  huart1.Init.BaudRate = 115200;
  huart1.Init.WordLength = UART_WORDLENGTH_8B;
  huart1.Init.StopBits = UART_STOPBITS_1;
  huart1.Init.Parity = UART_PARITY_NONE;
  huart1.Init.Mode = UART_MODE_TX_RX;
  huart1.Init.HwFlowCtl = UART_HWCONTROL_NONE;
  huart1.Init.OverSampling = UART_OVERSAMPLING_16;
  huart1.Init.OneBitSampling = UART_ONE_BIT_SAMPLE_DISABLE;
  huart1.Init.ClockPrescaler = UART_PRESCALER_DIV1;
  huart1.AdvancedInit.AdvFeatureInit = UART_ADVFEATURE_NO_INIT;
  if (HAL_UART_Init(&huart1) != HAL_OK)
  {
    Error_Handler();
  }
  if (HAL_UARTEx_SetTxFifoThreshold(&huart1, UART_TXFIFO_THRESHOLD_1_8) != HAL_OK)
  {
    Error_Handler();
  }
  if (HAL_UARTEx_SetRxFifoThreshold(&huart1, UART_RXFIFO_THRESHOLD_1_8) != HAL_OK)
  {
    Error_Handler();
  }
  if (HAL_UARTEx_DisableFifoMode(&huart1) != HAL_OK)
  {
    Error_Handler();
  }

}

static void MX_DMA_Init(void)
{

  /* DMA controller clock enable */
  __HAL_RCC_DMA1_CLK_ENABLE();

  /* DMA interrupt init */
  /* DMA1_Stream0_IRQn interrupt configuration */
  HAL_NVIC_SetPriority(DMA1_Stream0_IRQn, 0, 0);
  HAL_NVIC_EnableIRQ(DMA1_Stream0_IRQn);
  /* DMA1_Stream1_IRQn interrupt configuration */
  HAL_NVIC_SetPriority(DMA1_Stream1_IRQn, 0, 0);
  HAL_NVIC_EnableIRQ(DMA1_Stream1_IRQn);

}

static void MX_GPIO_Init(void)
{
  GPIO_InitTypeDef GPIO_InitStruct = {0};

  /* GPIO Ports Clock Enable */
  __HAL_RCC_GPIOE_CLK_ENABLE();
  __HAL_RCC_GPIOH_CLK_ENABLE();
  __HAL_RCC_GPIOC_CLK_ENABLE();
  __HAL_RCC_GPIOA_CLK_ENABLE();
  __HAL_RCC_GPIOB_CLK_ENABLE();
  __HAL_RCC_GPIOD_CLK_ENABLE();

  /*Configure GPIO pin Output Level */
  HAL_GPIO_WritePin(GPIOE, LED1_Pin|LED2_Pin|OE_Pin, GPIO_PIN_RESET);

  /*Configure GPIO pin Output Level */
  HAL_GPIO_WritePin(EN_DAT_GPIO_Port, EN_DAT_Pin, GPIO_PIN_RESET);

  /*Configure GPIO pin Output Level */
  HAL_GPIO_WritePin(GPIOD, U_HALL_CS_Pin|V_HALL_CS_Pin|W_HALL_CS_Pin, GPIO_PIN_SET);

  /*Configure GPIO pins : LED1_Pin LED2_Pin OE_Pin */
  GPIO_InitStruct.Pin = LED1_Pin|LED2_Pin|OE_Pin;
  GPIO_InitStruct.Mode = GPIO_MODE_OUTPUT_PP;
  GPIO_InitStruct.Pull = GPIO_NOPULL;
  GPIO_InitStruct.Speed = GPIO_SPEED_FREQ_LOW;
  HAL_GPIO_Init(GPIOE, &GPIO_InitStruct);

  /*Configure GPIO pin : EN_DAT_Pin */
  GPIO_InitStruct.Pin = EN_DAT_Pin;
  GPIO_InitStruct.Mode = GPIO_MODE_OUTPUT_PP;
  GPIO_InitStruct.Pull = GPIO_NOPULL;
  GPIO_InitStruct.Speed = GPIO_SPEED_FREQ_LOW;
  HAL_GPIO_Init(EN_DAT_GPIO_Port, &GPIO_InitStruct);

  /*Configure GPIO pins : U_OC_Pin V_OC_Pin W_OC_Pin */
  GPIO_InitStruct.Pin = U_OC_Pin|V_OC_Pin|W_OC_Pin;
  GPIO_InitStruct.Mode = GPIO_MODE_INPUT;
  GPIO_InitStruct.Pull = GPIO_NOPULL;
  HAL_GPIO_Init(GPIOB, &GPIO_InitStruct);

  /*Configure GPIO pins : U_HALL_CS_Pin V_HALL_CS_Pin W_HALL_CS_Pin */
  GPIO_InitStruct.Pin = U_HALL_CS_Pin|V_HALL_CS_Pin|W_HALL_CS_Pin;
  GPIO_InitStruct.Mode = GPIO_MODE_OUTPUT_PP;
  GPIO_InitStruct.Pull = GPIO_NOPULL;
  GPIO_InitStruct.Speed = GPIO_SPEED_FREQ_LOW;
  HAL_GPIO_Init(GPIOD, &GPIO_InitStruct);

  /*Configure GPIO pin : SD_DETECT_Pin */
  GPIO_InitStruct.Pin = SD_DETECT_Pin;
  GPIO_InitStruct.Mode = GPIO_MODE_INPUT;
  GPIO_InitStruct.Pull = GPIO_NOPULL;
  HAL_GPIO_Init(SD_DETECT_GPIO_Port, &GPIO_InitStruct);

  /*Configure GPIO pin : FAULT_Pin */
  GPIO_InitStruct.Pin = FAULT_Pin;
  GPIO_InitStruct.Mode = GPIO_MODE_INPUT;
  GPIO_InitStruct.Pull = GPIO_NOPULL;
  HAL_GPIO_Init(FAULT_GPIO_Port, &GPIO_InitStruct);

}

 /* MPU Configuration */

void MPU_Config(void)
{
  MPU_Region_InitTypeDef MPU_InitStruct = {0};

  /* Disables the MPU */
  HAL_MPU_Disable();

  /** Initializes and configures the Region and the memory to be protected
  */
  MPU_InitStruct.Enable = MPU_REGION_ENABLE;
  MPU_InitStruct.Number = MPU_REGION_NUMBER0;
  MPU_InitStruct.BaseAddress = 0x0;
  MPU_InitStruct.Size = MPU_REGION_SIZE_4GB;
  MPU_InitStruct.SubRegionDisable = 0x87;
  MPU_InitStruct.TypeExtField = MPU_TEX_LEVEL0;
  MPU_InitStruct.AccessPermission = MPU_REGION_NO_ACCESS;
  MPU_InitStruct.DisableExec = MPU_INSTRUCTION_ACCESS_DISABLE;
  MPU_InitStruct.IsShareable = MPU_ACCESS_SHAREABLE;
  MPU_InitStruct.IsCacheable = MPU_ACCESS_NOT_CACHEABLE;
  MPU_InitStruct.IsBufferable = MPU_ACCESS_NOT_BUFFERABLE;

  HAL_MPU_ConfigRegion(&MPU_InitStruct);
  /* Enables the MPU */
  HAL_MPU_Enable(MPU_PRIVILEGED_DEFAULT);

}

void Error_Handler(void)
{
  __disable_irq();
  while (1)
  {
  }
}
